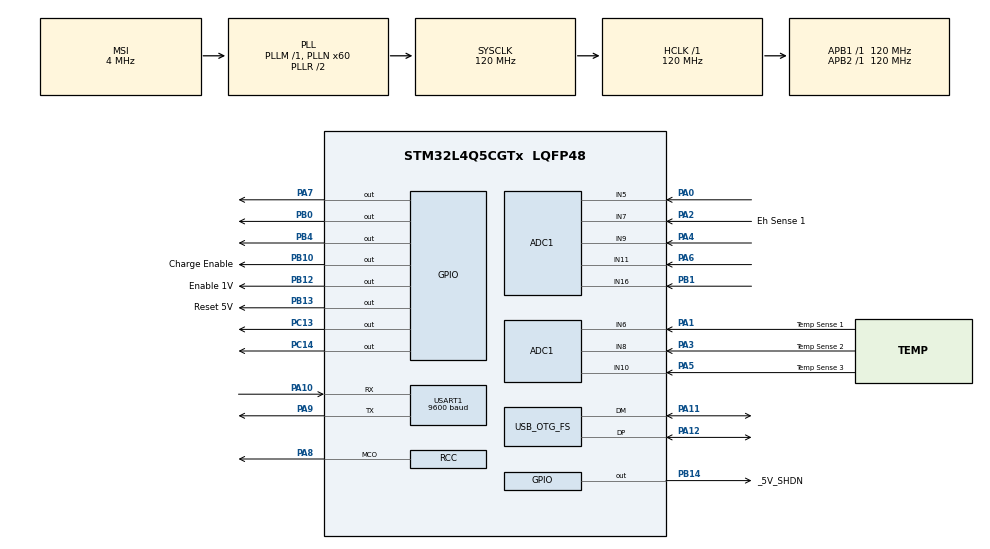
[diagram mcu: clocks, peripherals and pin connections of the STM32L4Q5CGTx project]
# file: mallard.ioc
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ADC1.Channel-0\#ChannelRegularConversion=ADC_CHANNEL_5
ADC1.ClockPrescaler=ADC_CLOCK_SYNC_PCLK_DIV4
ADC1.NbrOfConversionFlag=1
ADC1.OffsetNumber-0\#ChannelRegularConversion=ADC_OFFSET_NONE
ADC1.Rank-0\#ChannelRegularConversion=1
ADC1.SamplingTime-0\#ChannelRegularConversion=ADC_SAMPLETIME_2CYCLES_5
ADC1.master=1
FATFS._FS_EXFAT=1
FATFS._MAX_SS=4096
FATFS._MIN_SS=512
FATFS._USE_LFN=1
Mcu.Family=STM32L4
Mcu.Name=STM32L4Q5CGTx
Mcu.Package=LQFP48
NVIC.OTG_FS_IRQn=true\:0\:0\:false\:false\:true\:false\:true
NVIC.PriorityGroup=NVIC_PRIORITYGROUP_4
PA0.Signal=ADCx_IN5
PA1.GPIO_Label=Temp Sense 1
PA1.Signal=ADCx_IN6
PA10.Mode=Asynchronous
PA10.Signal=USART1_RX
PA11.Mode=Host_Only
PA11.Signal=USB_OTG_FS_DM
PA12.Mode=Host_Only
PA12.Signal=USB_OTG_FS_DP
PA13\ (JTMS/SWDIO).Signal=SYS_JTMS-SWDIO
PA14\ (JTCK/SWCLK).Signal=SYS_JTCK-SWCLK
PA2.GPIO_Label=Eh Sense 1
PA2.Signal=ADCx_IN7
PA3.GPIO_Label=Temp Sense 2
PA3.Signal=ADCx_IN8
PA4.Signal=ADCx_IN9
PA5.GPIO_Label=Temp Sense 3
PA5.Signal=ADCx_IN10
PA6.Signal=ADCx_IN11
PA7.Signal=GPIO_Output
PA8.Mode=Clock-out
PA8.Signal=RCC_MCO
PA9.Mode=Asynchronous
PA9.Signal=USART1_TX
PB0.Signal=GPIO_Output
PB1.Signal=ADCx_IN16
PB10.GPIO_Label=Charge Enable
PB10.Signal=GPIO_Output
PB12.GPIO_Label=Enable 1V
PB12.Signal=GPIO_Output
PB13.GPIO_Label=Reset 5V
PB13.Signal=GPIO_Output
PB14.GPIO_Label=_5V_SHDN
PB14.Signal=GPIO_Output
PB4\ (NJTRST).Signal=GPIO_Output
PC13.Signal=GPIO_Output
PC14-OSC32_IN\ (PC14).Signal=GPIO_Output
ProjectManager.HeapSize=0x200
ProjectManager.StackSize=0x400
ProjectManager.TargetToolchain=STM32CubeIDE
RCC.ADCFreq_Value=48000000
RCC.AHBFreq_Value=120000000
RCC.APB1Freq_Value=120000000
RCC.APB1TimFreq_Value=120000000
RCC.APB2Freq_Value=120000000
RCC.APB2TimFreq_Value=120000000
RCC.CortexFreq_Value=120000000
RCC.HCLKFreq_Value=120000000
RCC.HSE_VALUE=8000000
RCC.HSI48_VALUE=48000000
RCC.HSI_VALUE=16000000
RCC.LSE_VALUE=32768
RCC.MSI_VALUE=4000000
RCC.PLLN=60
RCC.PLLSAI1N=24
RCC.SYSCLKFreq_VALUE=120000000
RCC.SYSCLKSource=RCC_SYSCLKSOURCE_PLLCLK
RCC.USBFreq_Value=48000000
RCC.VCOOutputFreq_Value=240000000
SH.ADCx_IN10.0=ADC1_IN10,IN10-Single-Ended
SH.ADCx_IN11.0=ADC1_IN11,IN11-Single-Ended
SH.ADCx_IN16.0=ADC1_IN16,IN16-Single-Ended
SH.ADCx_IN5.0=ADC1_IN5,IN5-Single-Ended
SH.ADCx_IN6.0=ADC1_IN6,IN6-Single-Ended
SH.ADCx_IN7.0=ADC1_IN7,IN7-Single-Ended
SH.ADCx_IN8.0=ADC1_IN8,IN8-Single-Ended
SH.ADCx_IN9.0=ADC1_IN9,IN9-Single-Ended
USART1.BaudRate=9600
USART1.VirtualMode-Asynchronous=VM_ASYNC
USB_HOST.USBH_HandleTypeDef=hUsbHostFS
USB_HOST.VirtualModeFS=Msc
USB_OTG_FS.VirtualMode=Host_Only
USB_OTG_FS.phy_itface=HCD_PHY_EMBEDDED
VP_FATFS_VS_USB.Mode=USB
VP_USB_HOST_VS_USB_HOST_MSC_FS.Mode=MSC_FS
board=custom

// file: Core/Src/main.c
/* USER CODE BEGIN Header */
/**
  ******************************************************************************
  * @file           : main.c
  * @brief          : Main program body
  ******************************************************************************
  * @attention
  *
  * Copyright (c) 2022 STMicroelectronics.
  * All rights reserved.
  *
  * This software is licensed under terms that can be found in the LICENSE file
  * in the root directory of this software component.
  * If no LICENSE file comes with this software, it is provided AS-IS.
  *
  ******************************************************************************
  */
/* USER CODE END Header */
#include "main.h"
#include "fatfs.h"
#include "usb_host.h"

/* USER CODE BEGIN Includes */
#include <stdio.h>
/* USER CODE END Includes */

ADC_HandleTypeDef hadc1;

UART_HandleTypeDef huart1;

void SystemClock_Config(void);
void PeriphCommonClock_Config(void);
static void MX_GPIO_Init(void);
static void MX_ADC1_Init(void);
static void MX_USART1_UART_Init(void);
void MX_USB_HOST_Process(void);

/* USER CODE BEGIN 0 */
// ************************************************* START FUNCTIONS HERE ***************************************

// Blinky!!
void blinky(void)
{
	for(int i = 0; i < 2; i ++)
	{
		HAL_GPIO_TogglePin(GPIOB, GPIO_PIN_4);
		HAL_Delay(500);
		HAL_GPIO_TogglePin(GPIOB, GPIO_PIN_4);
		HAL_Delay(500);
	}
}

// ADC Channel Select EH
void ADC_Select_EH(void)
{
	ADC_ChannelConfTypeDef sConfig = {0};

	sConfig.Channel = ADC_CHANNEL_7;
	sConfig.Rank = 1;
	sConfig.SamplingTime = ADC_SAMPLETIME_2CYCLES_5;
	sConfig.SingleDiff = ADC_SINGLE_ENDED;
	sConfig.OffsetNumber = ADC_OFFSET_NONE;
	sConfig.Offset = 0;
	if (HAL_ADC_ConfigChannel(&hadc1, &sConfig) != HAL_OK)
	{
	Error_Handler();
	}
}

// ADC Channel Select REF
void ADC_Select_REF(void)
{
	ADC_ChannelConfTypeDef sConfig = {0};

	sConfig.Channel = ADC_CHANNEL_6;
	sConfig.Rank = 1;
	sConfig.SamplingTime = ADC_SAMPLETIME_2CYCLES_5;
	sConfig.SingleDiff = ADC_SINGLE_ENDED;
	sConfig.OffsetNumber = ADC_OFFSET_NONE;
	sConfig.Offset = 0;
	if (HAL_ADC_ConfigChannel(&hadc1, &sConfig) != HAL_OK)
	{
	Error_Handler();
	}
}

// ADC Channel Select TEMP
void ADC_Select_TEMP(void)
{
	ADC_ChannelConfTypeDef sConfig = {0};

	sConfig.Channel = ADC_CHANNEL_5;
	sConfig.Rank = 1;
	sConfig.SamplingTime = ADC_SAMPLETIME_2CYCLES_5;
	sConfig.SingleDiff = ADC_SINGLE_ENDED;
	sConfig.OffsetNumber = ADC_OFFSET_NONE;
	sConfig.Offset = 0;
	if (HAL_ADC_ConfigChannel(&hadc1, &sConfig) != HAL_OK)
	{
	Error_Handler();
	}
}

// UART Write
void _write(int file, char *ptr, int len)
{
	HAL_UART_Transmit(&huart1, (uint8_t*)ptr, len, HAL_MAX_DELAY);
}

/* USER CODE END 0 */

int main(void)
{

  /* MCU Configuration--------------------------------------------------------*/

  /* Reset of all peripherals, Initializes the Flash interface and the Systick. */
  HAL_Init();

  /* Configure the system clock */
  SystemClock_Config();

/* Configure the peripherals common clocks */
  PeriphCommonClock_Config();

  /* Initialize all configured peripherals */
  MX_GPIO_Init();
  MX_ADC1_Init();
  MX_USART1_UART_Init();
  MX_USB_HOST_Init();
  MX_FATFS_Init();
  /* USER CODE BEGIN 2 */

  // ************************************************* START BEFORE WHILE CODE HERE ***************************************

  // Bootup Blinkys
  // These are put in place to allow programming before the microcontroller enters its sleep loop, currently its set to wait 5 seconds before entering sleep mode

  printf("System Starting!\r\n");

  blinky();
  // HAL_Delay(5000);
  //Assign ADC Variable
  uint16_t ADC_READING = 0;

  // Enable 1V0 Regulator
  // HAL_GPIO_WritePin(GPIOB, GPIO_PIN_12, GPIO_PIN_SET);

  // Enable 5V0 Regulator
  HAL_GPIO_WritePin(GPIOB, GPIO_PIN_14, GPIO_PIN_SET);

  // ************************************************* END BEFORE WHILE CODE HERE ***************************************

  /* USER CODE END 2 */

  /* Infinite loop */
  while (1)
  {
    MX_USB_HOST_Process();

    /* USER CODE BEGIN 3 */

    // ************************************************* START WHILE CODE HERE ***************************************

    // TODO: Add conversion equations to convert ADC value to voltage

    // READ EH
    // Switch ADC channel to EH
    ADC_Select_EH();
    //Start ADC Conversion
	HAL_ADC_Start(&hadc1);
	// Pole to see if converstion is finished
	HAL_ADC_PollForConversion(&hadc1, HAL_MAX_DELAY);
    // Store ADC Value in ADC_Reading
    ADC_READING = HAL_ADC_GetValue(&hadc1);
    HAL_ADC_Stop(&hadc1);

    // Print ADC value through UART
	printf("EH: %d\r\n", ADC_READING);

	// READ REF
	// Switch ADC channel to REF
	ADC_Select_REF();
	//Start ADC Conversion
	HAL_ADC_Start(&hadc1);
	// Pole to see if converstion is finished
	HAL_ADC_PollForConversion(&hadc1, HAL_MAX_DELAY);
	// Store ADC Value in ADC_Reading
	ADC_READING = HAL_ADC_GetValue(&hadc1);
	HAL_ADC_Stop(&hadc1);

	// Print ADC value through UART
	printf("REF: %d\r\n", ADC_READING);

	// READ TEMP
	// Switch ADC channel to TEMP
	ADC_Select_TEMP();
	//Start ADC Conversion
	HAL_ADC_Start(&hadc1);
	// Pole to see if converstion is finished
	HAL_ADC_PollForConversion(&hadc1, HAL_MAX_DELAY);
	// Store ADC Value in ADC_Reading
	ADC_READING = HAL_ADC_GetValue(&hadc1);
	HAL_ADC_Stop(&hadc1);

	// Print ADC value through UART
	printf("TEMP: %d\r\n", ADC_READING);

    // Enter sleep mode using RTC wakeup functions
    // enterSleepMode(3); // Parameter depicts how long the sleep cycle is (currently its set to 3 seconds)
    blinky();

  }
  // ************************************************* END WHILE CODE HERE ***************************************

  /* USER CODE END 3 */
}

void SystemClock_Config(void)
{
  RCC_OscInitTypeDef RCC_OscInitStruct = {0};
  RCC_ClkInitTypeDef RCC_ClkInitStruct = {0};

  /** Configure the main internal regulator output voltage
  */
  if (HAL_PWREx_ControlVoltageScaling(PWR_REGULATOR_VOLTAGE_SCALE1_BOOST) != HAL_OK)
  {
    Error_Handler();
  }
  /** Initializes the RCC Oscillators according to the specified parameters
  * in the RCC_OscInitTypeDef structure.
  */
  RCC_OscInitStruct.OscillatorType = RCC_OSCILLATORTYPE_MSI;
  RCC_OscInitStruct.MSIState = RCC_MSI_ON;
  RCC_OscInitStruct.MSICalibrationValue = 0;
  RCC_OscInitStruct.MSIClockRange = RCC_MSIRANGE_6;
  RCC_OscInitStruct.PLL.PLLState = RCC_PLL_ON;
  RCC_OscInitStruct.PLL.PLLSource = RCC_PLLSOURCE_MSI;
  RCC_OscInitStruct.PLL.PLLM = 1;
  RCC_OscInitStruct.PLL.PLLN = 60;
  RCC_OscInitStruct.PLL.PLLP = RCC_PLLP_DIV2;
  RCC_OscInitStruct.PLL.PLLQ = RCC_PLLQ_DIV2;
  RCC_OscInitStruct.PLL.PLLR = RCC_PLLR_DIV2;
  if (HAL_RCC_OscConfig(&RCC_OscInitStruct) != HAL_OK)
  {
    Error_Handler();
  }
  /** Initializes the CPU, AHB and APB buses clocks
  */
  RCC_ClkInitStruct.ClockType = RCC_CLOCKTYPE_HCLK|RCC_CLOCKTYPE_SYSCLK
                              |RCC_CLOCKTYPE_PCLK1|RCC_CLOCKTYPE_PCLK2;
  RCC_ClkInitStruct.SYSCLKSource = RCC_SYSCLKSOURCE_PLLCLK;
  RCC_ClkInitStruct.AHBCLKDivider = RCC_SYSCLK_DIV1;
  RCC_ClkInitStruct.APB1CLKDivider = RCC_HCLK_DIV1;
  RCC_ClkInitStruct.APB2CLKDivider = RCC_HCLK_DIV1;

  if (HAL_RCC_ClockConfig(&RCC_ClkInitStruct, FLASH_LATENCY_5) != HAL_OK)
  {
    Error_Handler();
  }
  HAL_RCC_MCOConfig(RCC_MCO1, RCC_MCO1SOURCE_SYSCLK, RCC_MCODIV_1);
  /** Enable MSI Auto calibration
  */
  HAL_RCCEx_EnableMSIPLLMode();
}

void PeriphCommonClock_Config(void)
{
  RCC_PeriphCLKInitTypeDef PeriphClkInit = {0};

  /** Initializes the peripherals clock
  */
  PeriphClkInit.PeriphClockSelection = RCC_PERIPHCLK_USB|RCC_PERIPHCLK_ADC;
  PeriphClkInit.AdcClockSelection = RCC_ADCCLKSOURCE_PLLSAI1;
  PeriphClkInit.UsbClockSelection = RCC_USBCLKSOURCE_PLLSAI1;
  PeriphClkInit.PLLSAI1.PLLSAI1Source = RCC_PLLSOURCE_MSI;
  PeriphClkInit.PLLSAI1.PLLSAI1M = 1;
  PeriphClkInit.PLLSAI1.PLLSAI1N = 24;
  PeriphClkInit.PLLSAI1.PLLSAI1P = RCC_PLLP_DIV2;
  PeriphClkInit.PLLSAI1.PLLSAI1Q = RCC_PLLQ_DIV2;
  PeriphClkInit.PLLSAI1.PLLSAI1R = RCC_PLLR_DIV2;
  PeriphClkInit.PLLSAI1.PLLSAI1ClockOut = RCC_PLLSAI1_48M2CLK;
  if (HAL_RCCEx_PeriphCLKConfig(&PeriphClkInit) != HAL_OK)
  {
    Error_Handler();
  }
}

static void MX_ADC1_Init(void)
{

  ADC_MultiModeTypeDef multimode = {0};
  ADC_ChannelConfTypeDef sConfig = {0};

  /** Common config
  */
  hadc1.Instance = ADC1;
  hadc1.Init.ClockPrescaler = ADC_CLOCK_SYNC_PCLK_DIV4;
  hadc1.Init.Resolution = ADC_RESOLUTION_12B;
  hadc1.Init.DataAlign = ADC_DATAALIGN_RIGHT;
  hadc1.Init.ScanConvMode = ADC_SCAN_DISABLE;
  hadc1.Init.EOCSelection = ADC_EOC_SINGLE_CONV;
  hadc1.Init.LowPowerAutoWait = DISABLE;
  hadc1.Init.ContinuousConvMode = DISABLE;
  hadc1.Init.NbrOfConversion = 1;
  hadc1.Init.DiscontinuousConvMode = DISABLE;
  hadc1.Init.ExternalTrigConv = ADC_SOFTWARE_START;
  hadc1.Init.ExternalTrigConvEdge = ADC_EXTERNALTRIGCONVEDGE_NONE;
  hadc1.Init.DMAContinuousRequests = DISABLE;
  hadc1.Init.Overrun = ADC_OVR_DATA_PRESERVED;
  hadc1.Init.OversamplingMode = DISABLE;
  if (HAL_ADC_Init(&hadc1) != HAL_OK)
  {
    Error_Handler();
  }
  /** Configure the ADC multi-mode
  */
  multimode.Mode = ADC_MODE_INDEPENDENT;
  if (HAL_ADCEx_MultiModeConfigChannel(&hadc1, &multimode) != HAL_OK)
  {
    Error_Handler();
  }
  /** Configure Regular Channel
  */
  sConfig.Channel = ADC_CHANNEL_5;
  sConfig.Rank = ADC_REGULAR_RANK_1;
  sConfig.SamplingTime = ADC_SAMPLETIME_2CYCLES_5;
  sConfig.SingleDiff = ADC_SINGLE_ENDED;
  sConfig.OffsetNumber = ADC_OFFSET_NONE;
  sConfig.Offset = 0;
  if (HAL_ADC_ConfigChannel(&hadc1, &sConfig) != HAL_OK)
  {
    Error_Handler();
  }

}

static void MX_USART1_UART_Init(void)
{

  huart1.Instance = USART1;
  huart1.Init.BaudRate = 9600;
  huart1.Init.WordLength = UART_WORDLENGTH_8B;
  huart1.Init.StopBits = UART_STOPBITS_1;
  huart1.Init.Parity = UART_PARITY_NONE;
  huart1.Init.Mode = UART_MODE_TX_RX;
  huart1.Init.HwFlowCtl = UART_HWCONTROL_NONE;
  huart1.Init.OverSampling = UART_OVERSAMPLING_16;
  huart1.Init.OneBitSampling = UART_ONE_BIT_SAMPLE_DISABLE;
  huart1.Init.ClockPrescaler = UART_PRESCALER_DIV1;
  huart1.AdvancedInit.AdvFeatureInit = UART_ADVFEATURE_NO_INIT;
  if (HAL_UART_Init(&huart1) != HAL_OK)
  {
    Error_Handler();
  }
  if (HAL_UARTEx_SetTxFifoThreshold(&huart1, UART_TXFIFO_THRESHOLD_1_8) != HAL_OK)
  {
    Error_Handler();
  }
  if (HAL_UARTEx_SetRxFifoThreshold(&huart1, UART_RXFIFO_THRESHOLD_1_8) != HAL_OK)
  {
    Error_Handler();
  }
  if (HAL_UARTEx_DisableFifoMode(&huart1) != HAL_OK)
  {
    Error_Handler();
  }

}

static void MX_GPIO_Init(void)
{
  GPIO_InitTypeDef GPIO_InitStruct = {0};

  /* GPIO Ports Clock Enable */
  __HAL_RCC_GPIOC_CLK_ENABLE();
  __HAL_RCC_GPIOA_CLK_ENABLE();
  __HAL_RCC_GPIOB_CLK_ENABLE();

  /*Configure GPIO pin Output Level */
  HAL_GPIO_WritePin(GPIOC, GPIO_PIN_13|GPIO_PIN_14, GPIO_PIN_RESET);

  /*Configure GPIO pin Output Level */
  HAL_GPIO_WritePin(GPIOA, GPIO_PIN_7, GPIO_PIN_RESET);

  /*Configure GPIO pin Output Level */
  HAL_GPIO_WritePin(GPIOB, GPIO_PIN_0|Charge_Enable_Pin|Enable_1V_Pin|Reset_5V_Pin
                          |_5V_SHDN_Pin|GPIO_PIN_4, GPIO_PIN_RESET);

  /*Configure GPIO pins : PC13 PC14 */
  GPIO_InitStruct.Pin = GPIO_PIN_13|GPIO_PIN_14;
  GPIO_InitStruct.Mode = GPIO_MODE_OUTPUT_PP;
  GPIO_InitStruct.Pull = GPIO_NOPULL;
  GPIO_InitStruct.Speed = GPIO_SPEED_FREQ_LOW;
  HAL_GPIO_Init(GPIOC, &GPIO_InitStruct);

  /*Configure GPIO pin : PA7 */
  GPIO_InitStruct.Pin = GPIO_PIN_7;
  GPIO_InitStruct.Mode = GPIO_MODE_OUTPUT_PP;
  GPIO_InitStruct.Pull = GPIO_NOPULL;
  GPIO_InitStruct.Speed = GPIO_SPEED_FREQ_LOW;
  HAL_GPIO_Init(GPIOA, &GPIO_InitStruct);

  /*Configure GPIO pins : PB0 Charge_Enable_Pin Enable_1V_Pin Reset_5V_Pin
                           _5V_SHDN_Pin PB4 */
  GPIO_InitStruct.Pin = GPIO_PIN_0|Charge_Enable_Pin|Enable_1V_Pin|Reset_5V_Pin
                          |_5V_SHDN_Pin|GPIO_PIN_4;
  GPIO_InitStruct.Mode = GPIO_MODE_OUTPUT_PP;
  GPIO_InitStruct.Pull = GPIO_NOPULL;
  GPIO_InitStruct.Speed = GPIO_SPEED_FREQ_LOW;
  HAL_GPIO_Init(GPIOB, &GPIO_InitStruct);

  /*Configure GPIO pin : PA8 */
  GPIO_InitStruct.Pin = GPIO_PIN_8;
  GPIO_InitStruct.Mode = GPIO_MODE_AF_PP;
  GPIO_InitStruct.Pull = GPIO_NOPULL;
  GPIO_InitStruct.Speed = GPIO_SPEED_FREQ_LOW;
  GPIO_InitStruct.Alternate = GPIO_AF0_MCO;
  HAL_GPIO_Init(GPIOA, &GPIO_InitStruct);

}

void Error_Handler(void)
{
  __disable_irq();
  while (1)
  {
  }
}
